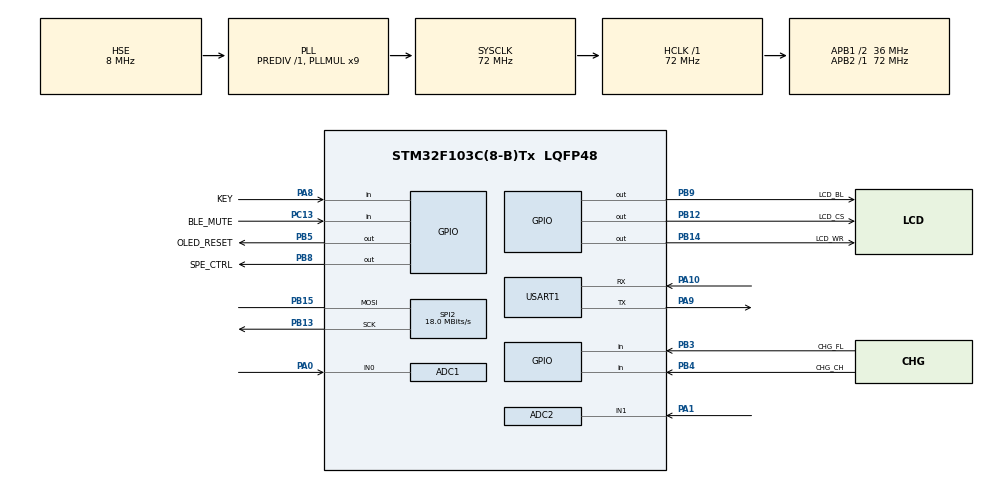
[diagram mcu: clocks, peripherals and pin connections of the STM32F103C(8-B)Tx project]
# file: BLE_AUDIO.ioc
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ADC1.Channel-2\#ChannelRegularConversion=ADC_CHANNEL_0
ADC1.ContinuousConvMode=ENABLE
ADC1.EnableRegularConversion=ENABLE
ADC1.InjNumberOfConversion=0
ADC1.NbrOfConversion=1
ADC1.NbrOfConversionFlag=1
ADC1.Rank-2\#ChannelRegularConversion=1
ADC1.SamplingTime-2\#ChannelRegularConversion=ADC_SAMPLETIME_239CYCLES_5
ADC1.master=1
ADC2.Channel-0\#ChannelRegularConversion=ADC_CHANNEL_1
ADC2.ContinuousConvMode=ENABLE
ADC2.ExternalTrigConv=ADC_EXTERNALTRIGCONV_T3_TRGO
ADC2.NbrOfConversionFlag=1
ADC2.Rank-0\#ChannelRegularConversion=1
ADC2.SamplingTime-0\#ChannelRegularConversion=ADC_SAMPLETIME_7CYCLES_5
Mcu.Family=STM32F1
Mcu.Name=STM32F103C(8-B)Tx
Mcu.Package=LQFP48
NVIC.ADC1_2_IRQn=true\:0\:0\:false\:false\:true\:true\:true
NVIC.PriorityGroup=NVIC_PRIORITYGROUP_4
PA0-WKUP.Signal=ADCx_IN0
PA1.Signal=ADCx_IN1
PA10.Mode=Asynchronous
PA10.Signal=USART1_RX
PA13.Mode=Serial_Wire
PA13.Signal=SYS_JTMS-SWDIO
PA14.Mode=Serial_Wire
PA14.Signal=SYS_JTCK-SWCLK
PA8.GPIO_Label=KEY
PA8.GPIO_PuPd=GPIO_PULLDOWN
PA8.Signal=GPIO_Input
PA9.Mode=Asynchronous
PA9.Signal=USART1_TX
PB12.GPIO_Label=LCD_CS
PB12.GPIO_Speed=GPIO_SPEED_FREQ_HIGH
PB12.PinState=GPIO_PIN_SET
PB12.Signal=GPIO_Output
PB13.Mode=Simplex_Bidirectional_Master
PB13.Signal=SPI2_SCK
PB14.GPIO_Label=LCD_WR
PB14.GPIO_Speed=GPIO_SPEED_FREQ_HIGH
PB14.PinState=GPIO_PIN_SET
PB14.Signal=GPIO_Output
PB15.Mode=Simplex_Bidirectional_Master
PB15.Signal=SPI2_MOSI
PB3.GPIO_Label=CHG_FL
PB3.Signal=GPIO_Input
PB4.GPIO_Label=CHG_CH
PB4.Signal=GPIO_Input
PB5.GPIO_Label=OLED_RESET
PB5.PinState=GPIO_PIN_SET
PB5.Signal=GPIO_Output
PB8.GPIO_Label=SPE_CTRL
PB8.Signal=GPIO_Output
PB9.GPIO_Label=LCD_BL
PB9.PinState=GPIO_PIN_SET
PB9.Signal=GPIO_Output
PC13-TAMPER-RTC.GPIO_Label=BLE_MUTE
PC13-TAMPER-RTC.GPIO_PuPd=GPIO_PULLUP
PC13-TAMPER-RTC.Signal=GPIO_Input
PC14-OSC32_IN.Mode=LSE-External-Oscillator
PC14-OSC32_IN.Signal=RCC_OSC32_IN
PC15-OSC32_OUT.Mode=LSE-External-Oscillator
PC15-OSC32_OUT.Signal=RCC_OSC32_OUT
PD0-OSC_IN.Mode=HSE-External-Oscillator
PD0-OSC_IN.Signal=RCC_OSC_IN
PD1-OSC_OUT.Mode=HSE-External-Oscillator
PD1-OSC_OUT.Signal=RCC_OSC_OUT
ProjectManager.HeapSize=0x200
ProjectManager.StackSize=0x400
ProjectManager.TargetToolchain=MDK-ARM V5
RCC.ADCPresc=RCC_ADCPCLK2_DIV6
RCC.AHBFreq_Value=72000000
RCC.APB1CLKDivider=RCC_HCLK_DIV2
RCC.APB1Freq_Value=36000000
RCC.APB1TimFreq_Value=72000000
RCC.APB2Freq_Value=72000000
RCC.APB2TimFreq_Value=72000000
RCC.HCLKFreq_Value=72000000
RCC.PLLMUL=RCC_PLL_MUL9
RCC.PLLSourceVirtual=RCC_PLLSOURCE_HSE
RCC.RTCClockSelection=RCC_RTCCLKSOURCE_LSE
RCC.SYSCLKFreq_VALUE=72000000
RCC.SYSCLKSource=RCC_SYSCLKSOURCE_PLLCLK
RCC.USBFreq_Value=72000000
RTC.AutoPrediv=RTC_AUTO_1_SECOND
SH.ADCx_IN0.0=ADC1_IN0,IN0
SH.ADCx_IN1.0=ADC2_IN1,IN1
SPI2.CalculateBaudRate=18.0 MBits/s
SPI2.Direction=SPI_DIRECTION_1LINE
SPI2.Mode=SPI_MODE_MASTER
SPI2.VirtualType=VM_MASTER
TIM3.AutoReloadPreload=TIM_AUTORELOAD_PRELOAD_ENABLE
TIM3.Period=24
TIM3.Prescaler=71
TIM3.TIM_MasterOutputTrigger=TIM_TRGO_UPDATE
USART1.VirtualMode=VM_ASYNC
VP_RTC_VS_RTC_Activate.Mode=RTC_Enabled
VP_TIM3_VS_ClockSourceINT.Mode=Internal
board=custom

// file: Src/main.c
/* USER CODE BEGIN Header */
/**
  ******************************************************************************
  * @file           : main.c
  * @brief          : Main program body
  ******************************************************************************
  * @attention
  *
  * <h2><center>&copy; Copyright (c) 2020 STMicroelectronics.
  * All rights reserved.</center></h2>
  *
  * This software component is licensed by ST under BSD 3-Clause license,
  * the "License"; You may not use this file except in compliance with the
  * License. You may obtain a copy of the License at:
  *                        opensource.org/licenses/BSD-3-Clause
  *
  ******************************************************************************
  */
/* USER CODE END Header */

#include "main.h"
#include "adc.h"
#include "rtc.h"
#include "spi.h"
#include "tim.h"
#include "usart.h"
#include "gpio.h"

/* USER CODE BEGIN Includes */
#include "lvgl.h"

#include "display_drv.h"
/* USER CODE END Includes */

/* USER CODE BEGIN PD */
#define BOOTLOADER_SIZE		(9*1024)		/*9K bootloader*/
#define CONFIG_PARAM_SIZE	(127*1024)		/*128K用于保存参数*/

#define CONFIG_PARAM_ADDR 	(FLASH_BASE + CONFIG_PARAM_SIZE)/*配置参数保存地址*/
#define FIRMWARE_START_ADDR (FLASH_BASE + BOOTLOADER_SIZE)
/* USER CODE END PD */

void SystemClock_Config(void);

/* USER CODE BEGIN 0 */
void NVIC_SetVectorTable(uint32_t NVIC_VectTab, uint32_t Offset)
{
    /* Check the parameters */
    assert_param(IS_NVIC_VECTTAB(NVIC_VectTab));
    assert_param(IS_NVIC_OFFSET(Offset));

    SCB->VTOR = NVIC_VectTab | (Offset & (uint32_t)0x1FFFFF80);
}

void lv_test_btn_1(void)
{
    /* Create a default button manually set to toggled state*/
    lv_obj_t * btn2 = lv_btn_create(lv_disp_get_scr_act(NULL), NULL);
    lv_obj_align(btn2, NULL, LV_ALIGN_OUT_BOTTOM_MID, 0, 20);
    lv_btn_set_state(btn2, LV_BTN_STATE_TGL_REL);
}

/* USER CODE END 0 */

int main(void)
{
    /* USER CODE BEGIN 1 */
    char str[20];
    uint16_t Color[] = {RED,GREEN,BLUE,YELLOW,BLACK,GRAY,LIGHTBLUE,DARKBLUE,LIGHTGREEN};
    uint8_t value=0;
    NVIC_SetVectorTable(FIRMWARE_START_ADDR,0);
    /* USER CODE END 1 */

    /* MCU Configuration--------------------------------------------------------*/

    /* Reset of all peripherals, Initializes the Flash interface and the Systick. */
    HAL_Init();

    /* Configure the system clock */
    SystemClock_Config();

    /* Initialize all configured peripherals */
    MX_GPIO_Init();
    MX_ADC1_Init();
    MX_USART1_UART_Init();
    MX_RTC_Init();
    MX_ADC2_Init();
    MX_SPI2_Init();
    MX_TIM3_Init();
    /* USER CODE BEGIN 2 */
    RTC_Init();
    LCD_Init();
    HAL_Delay(100);
    POINT_COLOR = BLUE;
    LCD_ShowString(0,0,240,240,24,"HELLO WORLD");
    LCD_ShowString(0,32,240,240,24,"Lovelessing...");
    /* USER CODE END 2 */

    /* Infinite loop */
    /* USER CODE BEGIN WHILE */
    lv_init();
    lv_port_disp_init();
    lv_test_btn_1();
    while (1)
    {
        /* USER CODE END WHILE */

        /* USER CODE BEGIN 3 */
        lv_task_handler();
        if(0)   //显示日历
        {
            POINT_COLOR = Color[(value++)%9];
            RTCGet();
            sprintf(str,"%4d.%d.%d",date.Year,date.Month,date.Date);
            LCD_ShowString(0,64,240,240,24,(char *)str);

            switch(date.WeekDay)
            {
            case 0:
                sprintf(str,"Sun %2d:%02d:%02d",time.Hours,time.Minutes,time.Seconds);
                break;
            case 1:
                sprintf(str,"Mon %2d:%02d:%02d",time.Hours,time.Minutes,time.Seconds);
                break;
            case 2:
                sprintf(str,"Tue %2d:%02d:%02d",time.Hours,time.Minutes,time.Seconds);
                break;
            case 3:
                sprintf(str,"Wed %2d:%02d:%02d",time.Hours,time.Minutes,time.Seconds);
                break;
            case 4:
                sprintf(str,"Thu %2d:%02d:%02d",time.Hours,time.Minutes,time.Seconds);
                break;
            case 5:
                sprintf(str,"Fri %2d:%02d:%02d",time.Hours,time.Minutes,time.Seconds);
                break;
            case 6:
                sprintf(str,"Sat %2d:%02d:%02d",time.Hours,time.Minutes,time.Seconds);
                break;
            default:
                break;
            }//sprintf(str,"%2d:%02d:%02d",time.Hours,time.Minutes,time.Seconds);

            LCD_ShowString(0,96,240,240,24,(char *)str);
        }
        HAL_Delay(5);
    }
    /* USER CODE END 3 */
}

void SystemClock_Config(void)
{
    RCC_OscInitTypeDef RCC_OscInitStruct = {0};
    RCC_ClkInitTypeDef RCC_ClkInitStruct = {0};
    RCC_PeriphCLKInitTypeDef PeriphClkInit = {0};

    /** Initializes the CPU, AHB and APB busses clocks
    */
    RCC_OscInitStruct.OscillatorType = RCC_OSCILLATORTYPE_HSE|RCC_OSCILLATORTYPE_LSE;
    RCC_OscInitStruct.HSEState = RCC_HSE_ON;
    RCC_OscInitStruct.HSEPredivValue = RCC_HSE_PREDIV_DIV1;
    RCC_OscInitStruct.LSEState = RCC_LSE_ON;
    RCC_OscInitStruct.HSIState = RCC_HSI_ON;
    RCC_OscInitStruct.PLL.PLLState = RCC_PLL_ON;
    RCC_OscInitStruct.PLL.PLLSource = RCC_PLLSOURCE_HSE;
    RCC_OscInitStruct.PLL.PLLMUL = RCC_PLL_MUL9;
    if (HAL_RCC_OscConfig(&RCC_OscInitStruct) != HAL_OK)
    {
        Error_Handler();
    }
    /** Initializes the CPU, AHB and APB busses clocks
    */
    RCC_ClkInitStruct.ClockType = RCC_CLOCKTYPE_HCLK|RCC_CLOCKTYPE_SYSCLK
                                  |RCC_CLOCKTYPE_PCLK1|RCC_CLOCKTYPE_PCLK2;
    RCC_ClkInitStruct.SYSCLKSource = RCC_SYSCLKSOURCE_PLLCLK;
    RCC_ClkInitStruct.AHBCLKDivider = RCC_SYSCLK_DIV1;
    RCC_ClkInitStruct.APB1CLKDivider = RCC_HCLK_DIV2;
    RCC_ClkInitStruct.APB2CLKDivider = RCC_HCLK_DIV1;

    if (HAL_RCC_ClockConfig(&RCC_ClkInitStruct, FLASH_LATENCY_2) != HAL_OK)
    {
        Error_Handler();
    }
    PeriphClkInit.PeriphClockSelection = RCC_PERIPHCLK_RTC|RCC_PERIPHCLK_ADC;
    PeriphClkInit.RTCClockSelection = RCC_RTCCLKSOURCE_LSE;
    PeriphClkInit.AdcClockSelection = RCC_ADCPCLK2_DIV6;
    if (HAL_RCCEx_PeriphCLKConfig(&PeriphClkInit) != HAL_OK)
    {
        Error_Handler();
    }
}

void Error_Handler(void)
{
}

/************************ (C) COPYRIGHT STMicroelectronics *****END OF FILE****/
